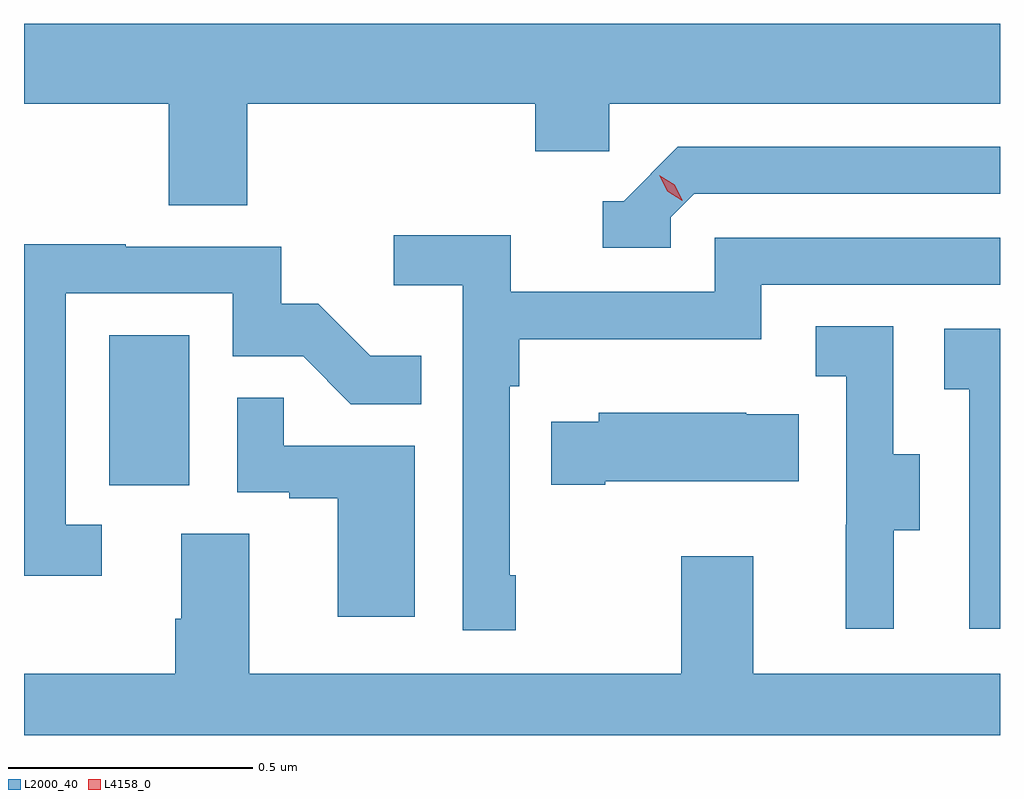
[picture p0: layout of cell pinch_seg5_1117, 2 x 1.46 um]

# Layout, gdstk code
import gdstk
lib = gdstk.Library(unit=1e-6, precision=1e-09)
def R(c, l, rs):  # rectangles x0, y0, x1, y1
    for r in rs: c.add(gdstk.rectangle(r[:2], r[2:], *l))
def P(c, l, *ps):  # polygons
    for p in ps: c.add(gdstk.Polygon(p, *l))
L2000_40 = (2000, 40)
L4158_0 = (4158, 0)

pinch_seg5_1117 = lib.new_cell('pinch_seg5_1117')
R(pinch_seg5_1117, L2000_40, [(814.226,857.31,814.39,857.617)])
P(pinch_seg5_1117, L2000_40, [(814.508,858.092),(815.099,858.092),(815.099,857.994),(815.25,857.994),(815.25,858.092),(816.051,858.092),(816.051,858.256),(814.051,858.256),(814.051,858.092),(814.348,858.092),(814.348,857.884),(814.508,857.884)],
  [(815.376,857.859),(815.424,857.907),(816.051,857.907),(816.051,858.003),(815.391,858.003),(815.28,857.892),(815.237,857.892),(815.237,857.796),(815.376,857.796)],
  [(815.059,857.125),(815.046,857.125),(815.046,857.513),(815.066,857.513),(815.066,857.609),(815.562,857.609),(815.562,857.721),(816.051,857.721),(816.051,857.817),(815.466,857.817),(815.466,857.706),(815.048,857.706),(815.048,857.822),(814.809,857.822),(814.809,857.72),(814.95,857.72),(814.95,857.013),(815.059,857.013)],
  [(814.21,857.229),(814.137,857.229),(814.137,857.703),(814.479,857.703),(814.479,857.574),(814.623,857.574),(814.721,857.476),(814.865,857.476),(814.865,857.575),(814.761,857.575),(814.654,857.682),(814.578,857.682),(814.578,857.799),(814.259,857.799),(814.259,857.804),(814.051,857.804),(814.051,857.124),(814.21,857.124)],
  [(815.833,857.218),(815.887,857.218),(815.887,857.373),(815.832,857.373),(815.832,857.636),(815.673,857.636),(815.673,857.533),(815.736,857.533),(815.736,857.229),(815.735,857.229),(815.735,857.016),(815.833,857.016)],
  [(816.051,857.631),(815.937,857.631),(815.937,857.507),(815.988,857.507),(815.988,857.016),(816.051,857.016)],
  [(814.852,857.391),(814.583,857.391),(814.583,857.489),(814.488,857.489),(814.488,857.295),(814.595,857.295),(814.595,857.283),(814.694,857.283),(814.694,857.04),(814.852,857.04)],
  [(815.242,857.318),(815.639,857.318),(815.639,857.455),(815.531,857.455),(815.531,857.458),(815.229,857.458),(815.229,857.44),(815.131,857.44),(815.131,857.311),(815.242,857.311)],
  [(816.051,856.924),(815.545,856.924),(815.545,857.164),(815.398,857.164),(815.398,856.924),(814.513,856.924),(814.513,857.21),(814.373,857.21),(814.373,857.036),(814.361,857.036),(814.361,856.924),(814.051,856.924),(814.051,856.797),(816.051,856.797)])
P(pinch_seg5_1117, L4158_0, [(815.4,857.893),(815.369,857.912),(815.353,857.945),(815.353,857.945),(815.353,857.945),(815.384,857.926),(815.4,857.894),(815.4,857.893)])

lib.write_gds('pinch_seg5_1117.gds')
